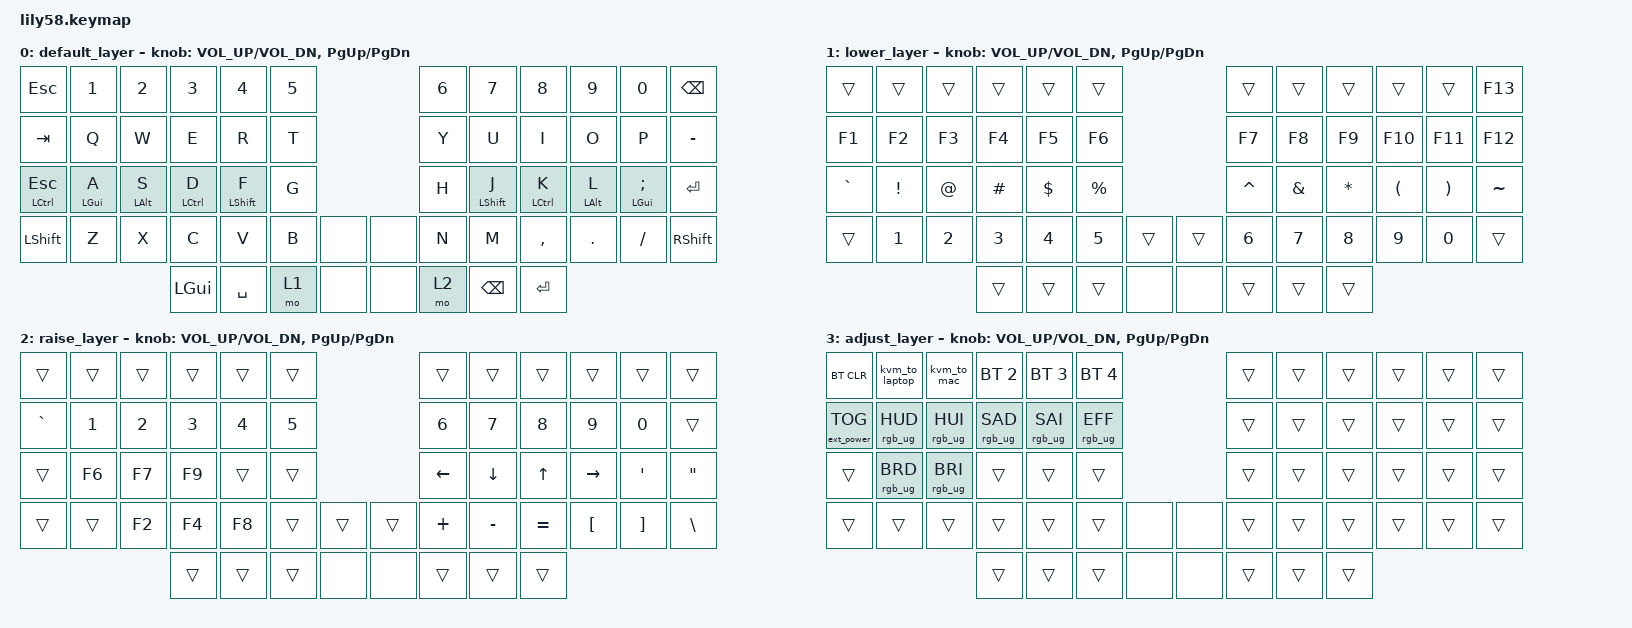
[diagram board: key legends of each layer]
/*
 * Copyright (c) 2020 The ZMK Contributors
 *
 * SPDX-License-Identifier: MIT
 */

#include <behaviors.dtsi>
#include <dt-bindings/zmk/keys.h>
#include <dt-bindings/zmk/bt.h>
#include <dt-bindings/zmk/ext_power.h>
#include <dt-bindings/zmk/rgb.h>

// ---------------------------------------------------------------------------
// Physical layout: 54 keys (24 main + 3 thumb per side). Four slots in the
// 58-slot Lily58 matrix have no physical switch behind them and are marked
// `(—)` in the ASCII diagrams and `&none` in the bindings arrays:
//   row 3: slots 42 (left inner) and 43 (right inner)
//   thumb: slots 53 (left innermost) and 54 (right innermost)
// Binding keycodes to those slots is a no-op. For more base-layer keys,
// use combos (see `combos` block below). Full reference: PHYSICAL_LAYOUT.md
// at the repo root.
// ---------------------------------------------------------------------------

/ {
    // Activate ADJUST layer by pressing raise and lower
    conditional_layers {
        compatible = "zmk,conditional-layers";

        adjust_layer {
            if-layers = <1 2>;
            then-layer = <3>;
        };
    };

    // Timeless home-row mods, urob's recipe (github.com/urob/zmk-config).
    // Tap = letter, hold = modifier — but the modifier fires ONLY when the
    // next key is pressed with the OPPOSITE hand (hold-trigger-key-positions),
    // so same-hand rolls always produce letters. require-prior-idle resolves
    // an HRM key as instant tap during fast typing (<150 ms after another
    // key), which kills the classic misfire/lag problems.
    // Left-side mod keycodes on BOTH hands: Right Alt is AltGr (level3) in
    // some xkb layouts, and nothing in this system distinguishes L/R mods.
    behaviors {
        hml: home_row_mod_left {
            compatible = "zmk,behavior-hold-tap";
            #binding-cells = <2>;
            flavor = "balanced";
            tapping-term-ms = <280>;
            quick-tap-ms = <175>;
            require-prior-idle-ms = <150>;
            bindings = <&kp>, <&kp>;
            // right-hand keys + right thumbs
            hold-trigger-key-positions = <6 7 8 9 10 11 18 19 20 21 22 23 30 31 32 33 34 35 44 45 46 47 48 49 55 56 57>;
            hold-trigger-on-release;
        };

        hmr: home_row_mod_right {
            compatible = "zmk,behavior-hold-tap";
            #binding-cells = <2>;
            flavor = "balanced";
            tapping-term-ms = <280>;
            quick-tap-ms = <175>;
            require-prior-idle-ms = <150>;
            bindings = <&kp>, <&kp>;
            // left-hand keys + left thumbs
            hold-trigger-key-positions = <0 1 2 3 4 5 12 13 14 15 16 17 24 25 26 27 28 29 36 37 38 39 40 41 50 51 52>;
            hold-trigger-on-release;
        };
    };

    // Base-layer `[` / `]` via chords, since the inner-column switches are
    // absent on this build. In Ukrainian/Russian layouts these same keycodes
    // produce `х` / `ї`/`ъ`. Scoped to layer 0 so LOWER/RAISE are unaffected.
    combos {
        compatible = "zmk,combos";

        combo_lbkt {
            timeout-ms = <40>;
            key-positions = <37 38>;   // Z + X
            bindings = <&kp LBKT>;
            layers = <0>;
        };

        combo_rbkt {
            timeout-ms = <40>;
            key-positions = <47 48>;   // . + /
            bindings = <&kp RBKT>;
            layers = <0>;
        };

        combo_under {
            timeout-ms = <40>;
            key-positions = <44 45>;   // N + M → _ (snake_case in Ruby, frequent)
            bindings = <&kp UNDER>;
            layers = <0>;
        };

        combo_sqt {
            timeout-ms = <40>;
            key-positions = <39 40>;   // C + V → ' (UA: є, RU: э)
            bindings = <&kp SQT>;
            layers = <0>;
        };

        // Lang-switch chords. Each chord emits a unique Super+F-key that
        // GNOME's custom-keybindings route to lily-lang-{forward,back}.sh.
        // Those scripts call the input-source-dbus-interface extension to
        // advance one step through the list (us → ru → ua → us), avoiding
        // the MRU toggle and HUD entirely. Single-tap = single step; no
        // hold semantics, no slow-release.
        combo_lang_back {
            timeout-ms = <50>;
            key-positions = <36 52>;   // LSHFT + LOWER thumb (left = back)
            bindings = <&kp LG(LS(F11))>;
            layers = <0 1>;
        };

        combo_lang_fwd {
            timeout-ms = <50>;
            key-positions = <49 55>;   // RSHFT + RAISE thumb (right = forward)
            bindings = <&kp LG(LS(F12))>;
            layers = <0 2>;
        };
    };

    // Monitor-KVM switch macros (full design in MONITOR-KVM.md). Each sends its
    // hotkey to the CURRENTLY-connected host — which performs the DDC monitor
    // switch (Ubuntu directly; the Mac by ssh'ing back to Ubuntu) — then, after
    // a short pause so the HID report flushes, hands the keyboard to the other
    // host's Bluetooth profile. BT1 = profile 0 = Ubuntu, BT2 = profile 1 = Mac.
    macros {
        kvm_to_mac: kvm_to_mac {
            compatible = "zmk,behavior-macro";
            #binding-cells = <0>;
            wait-ms = <40>;
            tap-ms = <40>;
            bindings = <&kp F16>, <&macro_wait_time 300>, <&bt BT_SEL 1>;
        };
        kvm_to_laptop: kvm_to_laptop {
            compatible = "zmk,behavior-macro";
            #binding-cells = <0>;
            wait-ms = <40>;
            tap-ms = <40>;
            bindings = <&kp F17>, <&macro_wait_time 300>, <&bt BT_SEL 0>;
        };
    };

    keymap {
        compatible = "zmk,keymap";

        default_layer {
// ------------------------------------------------------------------------------------------------------------
// |  ESC  |  1  |  2  |  3   |  4   |  5   |                   |  6   |  7    |  8    |  9   |   0   | BSPC  |
// |  TAB  |  Q  |  W  |  E   |  R   |  T   |                   |  Y   |  U    |  I    |  O   |   P   |   -   |
// |CTL/ESC|  A  |  S  |  D   |  F   |  G   |                   |  H   |  J    |  K    |  L   |   ;   | ENTER |
// | LSHFT |  Z  |  X  |  C   |  V   |  B   |  (—)  |   |  (—)  |  N   |  M    |  ,    |  .   |   /   | RSHFT |
//                            | LGUI | SPACE| LOWER|  (—)  |   |  (—)  | RAISE| BSPC  | ENTER|
// Home-row mods (hold): A=Gui  S=Alt  D=Ctrl  F=Shift  /  J=Shift  K=Ctrl  L=Alt  ;=Gui
//   (timeless HRM, see behaviors block; mod fires only with opposite-hand keys)
// Slot 24 is mod-tap: tap → ESC, hold → LCTRL. Corner ESC (slot 0) kept as backup.
// Top-right (slot 11) is BSPC — pinky-access duplicate. GRAVE on LOWER/RAISE.
// Right thumb (Miryoku-style, 2026-06-11): RAISE (inner) | BSPC (middle) |
// ENTER (outer). Space lives on the left thumb only; BSPC took the comfy
// middle slot — the old outer position curled under the palm.
// Base-layer `[` via Z+X combo, `]` via . + / combo (see combos block).
// `'` (SQT) moved off base layer — now on RAISE at the `;` position (slot 34).
            bindings = <
&kp ESC       &kp N1      &kp N2      &kp N3       &kp N4       &kp N5                        &kp N6    &kp N7       &kp N8       &kp N9      &kp N0        &kp BSPC
&kp TAB       &kp Q       &kp W       &kp E        &kp R        &kp T                         &kp Y     &kp U        &kp I        &kp O       &kp P         &kp MINUS
&mt LCTRL ESC &hml LGUI A &hml LALT S &hml LCTRL D &hml LSHFT F &kp G                         &kp H     &hmr LSHFT J &hmr LCTRL K &hmr LALT L &hmr LGUI SEMI &kp RET
&kp LSHFT     &kp Z       &kp X       &kp C        &kp V        &kp B     &none     &none     &kp N     &kp M        &kp COMMA    &kp DOT     &kp FSLH      &kp RSHFT
                                      &kp LGUI     &kp SPACE    &mo 1     &none     &none     &mo 2     &kp BSPC     &kp RET
            >;

            sensor-bindings = <&inc_dec_kp C_VOL_UP C_VOL_DN &inc_dec_kp PG_UP PG_DN>;
        };

        lower_layer {
// ------------------------------------------------------------------------------------------------------------
// |       |     |     |      |      |      |                   |      |       |       |      |       |  F13  |
// |  F1   |  F2 |  F3 |  F4  |  F5  |  F6  |                   |  F7  |  F8   |  F9   |  F10 |  F11  |  F12  |
// |   `   |  !  |  @  |  #   |  $   |  %   |                   |  ^   |  &    |  *    |  (   |   )   |   ~   |
// |       |  1  |  2  |  3   |  4   |  5   |  (—)  |   |  (—)  |  6   |  7    |  8    |  9   |   0   |       |
//                            |      |      |      |  (—)  |   |  (—)  |      |       |      |
            bindings = <
&trans    &trans &trans &trans   &trans   &trans                        &trans    &trans   &trans    &trans   &trans   &kp F13
&kp F1    &kp F2 &kp F3 &kp F4   &kp F5   &kp F6                        &kp F7    &kp F8   &kp F9    &kp F10  &kp F11  &kp F12
&kp GRAVE &kp EXCL &kp AT &kp HASH &kp DOLLAR &kp PRCNT                 &kp CARET &kp AMPS &kp ASTRK &kp LPAR &kp RPAR &kp TILDE
&trans    &kp N1 &kp N2 &kp N3   &kp N4   &kp N5    &trans    &trans    &kp N6    &kp N7   &kp N8    &kp N9   &kp N0   &trans
                        &trans   &trans   &trans    &none     &none     &trans    &trans   &trans
            >;

            sensor-bindings = <&inc_dec_kp C_VOL_UP C_VOL_DN &inc_dec_kp PG_UP PG_DN>;
        };

        raise_layer {
// ------------------------------------------------------------------------------------------------------------
// |       |     |     |      |      |      |                   |      |       |       |      |       |       |
// |   `   |  1  |  2  |  3   |  4   |  5   |                   |  6   |  7    |  8    |  9   |   0   |       |
// |       |DICT |CHAT |PASTE |      |      |                   | LEFT | DOWN  |  UP   | RIGHT|   '   |   "   |
// |       |     | REC | MARK | STOP |      |  (—)  |   |  (—)  |  +   |  -    |  =    |  [   |   ]   |   \   |
// RAISE left hand = whisper-dictate + meeting-recorder hotkeys (evdev listeners,
// not real F-keys to the user): home row A/S/D = dictation tech(F6)/chat(F7)/
// paste-last(F9); bottom row X/C/V = meeting start(F2)/mark(F4)/stop(F8). Codes
// chosen to be inert in Teams/browser (F2/F4/F8 do nothing there).
//                            |      |      |      |  (—)  |   |  (—)  |      |       |      |
            bindings = <
&trans    &trans &trans &trans   &trans   &trans                        &trans    &trans    &trans   &trans    &trans   &trans
&kp GRAVE &kp N1 &kp N2 &kp N3   &kp N4   &kp N5                        &kp N6    &kp N7    &kp N8   &kp N9    &kp N0   &trans
&trans    &kp F6 &kp F7 &kp F9   &trans   &trans                        &kp LEFT  &kp DOWN  &kp UP   &kp RIGHT &kp SQT  &kp DQT
&trans    &trans &kp F2 &kp F4   &kp F8   &trans    &trans    &trans    &kp PLUS  &kp MINUS &kp EQUAL &kp LBKT &kp RBKT &kp BSLH
                        &trans   &trans   &trans    &none     &none     &trans    &trans    &trans
            >;

            sensor-bindings = <&inc_dec_kp C_VOL_UP C_VOL_DN &inc_dec_kp PG_UP PG_DN>;
        };

        adjust_layer {
// ----------------------------------------------------------------------------------------------------------------------------
// BT1 / BT2 now trigger the FULL desk switch (monitor + Bluetooth), not just BT:
//   BT1 = kvm_to_laptop  (taps F17 -> current host flips monitor to Ubuntu, then hands BT to profile 0)
//   BT2 = kvm_to_mac     (taps F16 -> current host flips monitor to Mac,    then hands BT to profile 1)
// BT3/BT4/BT5 stay plain BT-profile switches; the old separate →UBU/→MAC keys are removed.
// | BTCLR  |  BT1    |  BT2    |   BT3   |   BT4   |   BT5   |                    |       |      |       |      |       |       |
// | EXTPWR | RGB_HUD | RGB_HUI | RGB_SAD | RGB_SAI | RGB_EFF |                    |       |      |       |      |       |       |
// |        | RGB_BRD | RGB_BRI |         |         |         |                    |       |      |       |      |       |       |
// |        |         |         |         |         |         |  (—)  |   |  (—)  |       |      |       |      |       |       |
//                              |         |         |         |       |   |  (—)  |       |      |       |
            bindings = <
&bt BT_CLR        &kvm_to_laptop  &kvm_to_mac     &bt BT_SEL 2    &bt BT_SEL 3    &bt BT_SEL 4                              &trans         &trans      &trans &trans &trans &trans
&ext_power EP_TOG &rgb_ug RGB_HUD &rgb_ug RGB_HUI &rgb_ug RGB_SAD &rgb_ug RGB_SAI &rgb_ug RGB_EFF                           &trans    &trans &trans &trans &trans &trans
&trans            &rgb_ug RGB_BRD &rgb_ug RGB_BRI &trans          &trans          &trans                                    &trans    &trans &trans &trans &trans &trans
&trans            &trans          &trans          &trans          &trans          &trans          &none           &none     &trans    &trans &trans &trans &trans &trans
                                                  &trans          &trans          &trans          &none           &none     &trans    &trans &trans
            >;

            sensor-bindings = <&inc_dec_kp C_VOL_UP C_VOL_DN &inc_dec_kp PG_UP PG_DN>;
        };
    };
};
